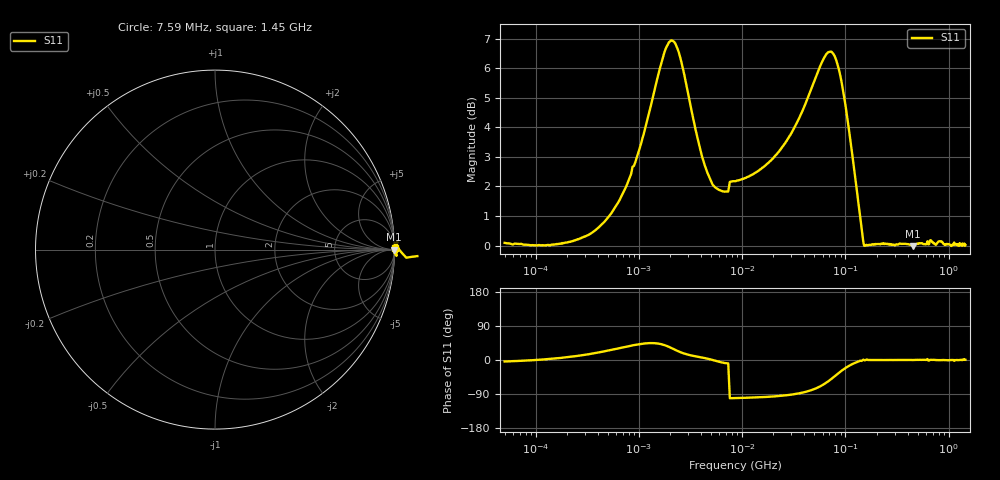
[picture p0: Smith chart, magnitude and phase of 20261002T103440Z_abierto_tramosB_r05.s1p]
! piloto_saltos / abierto_tramosB / r05
# HZ S RI R 50
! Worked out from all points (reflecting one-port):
!   501 points, 50 kHz to 1.45 GHz, reference 50 ohm
!   lowest |S11| = 0.0 dB at 449.5 MHz (marker M1), VSWR 775.56, Z = 3.33e+04 - j1.35e+04 ohm
!   phase of S11 starts at -4 deg and turns +4 deg over the sweep
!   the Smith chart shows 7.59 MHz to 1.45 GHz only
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50000  1.008 -0.069
182500  1.003 0.1046
381000  1.008 0.3361
678000  1.023 0.651
1164000  1.146 1.104
1623000  1.496 1.352
1947000  1.811 1.26
2379000  1.965 0.86
2757000  1.859 0.5582
3000000  1.751 0.4348
4620000  1.323 0.079
6780000  1.221 -0.1724
8130000  -0.2378 -1.263
8670000  -0.2329 -1.264
1.866e7  -0.163 -1.38
3.27e7  0.00696 -1.595
4.08e7  0.1723 -1.725
4.89e7  0.4026 -1.836
6.51e7  1.053 -1.825
7.32e7  1.376 -1.623
8.67e7  1.653 -1.09
9.75e7  1.633 -0.696
1.137e8  1.436 -0.31
1.326e8  1.186 -0.0898
1.542e8  0.9983 -0.0178
4.035e8  1.005 0.00158
4.495e8  0.9974 -0.00104
1.45e9  1.002 0.00965
